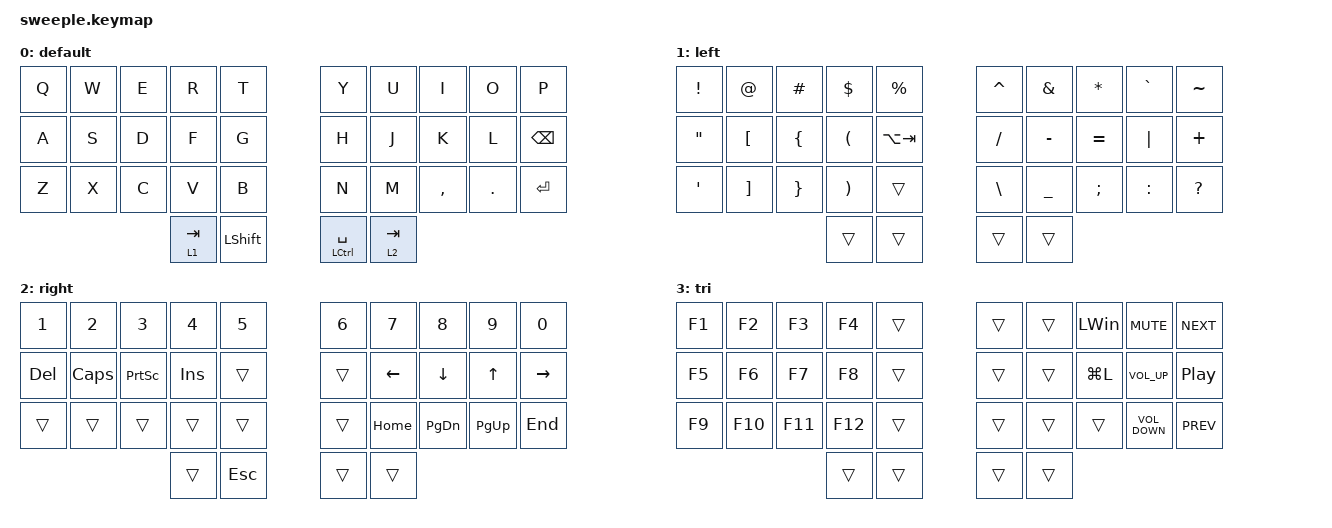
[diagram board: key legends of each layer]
#include <behaviors.dtsi>
#include <dt-bindings/zmk/keys.h>

/ {
    behaviors {
        hot: hot {
            compatible = "zmk,behavior-hold-tap";
            label = "hold or tap";
            bindings = <&kp>, <&kp>;

            #binding-cells = <2>;
            tapping-term-ms = <200>;
            flavor = "balanced";
        };
    };

    keymap {
        compatible = "zmk,keymap";

        default {
            bindings = <
&kp Q  &kp W  &kp E  &kp R      &kp T         &kp Y                    &kp U      &kp I      &kp O       &kp P
&kp A  &kp S  &kp D  &kp F      &kp G         &kp H                    &kp J      &kp K      &kp L       &kp BACKSPACE
&kp Z  &kp X  &kp C  &kp V      &kp B         &kp N                    &kp M      &kp COMMA  &kp PERIOD  &kp ENTER
                     &lt 1 TAB  &kp LSHIFT    &hot LEFT_CONTROL SPACE  &lt 2 TAB
            >;
        };

        left {
            bindings = <
&kp EXCLAMATION    &kp AT_SIGN  &kp POUND        &kp DOLLAR             &kp PERCENT    &kp CARET      &kp AMPERSAND   &kp ASTERISK   &kp GRAVE  &kp TILDE
&kp DOUBLE_QUOTES  &kp LBKT     &kp LEFT_BRACE   &kp LEFT_PARENTHESIS   &kp LA(TAB)    &kp SLASH      &kp MINUS       &kp EQUAL      &kp PIPE   &kp PLUS
&kp SQT            &kp RBKT     &kp RIGHT_BRACE  &kp RIGHT_PARENTHESIS  &trans         &kp BACKSLASH  &kp UNDERSCORE  &kp SEMICOLON  &kp COLON  &kp QUESTION
                                                 &trans                 &trans         &trans         &trans
            >;
        };

        right {
            bindings = <
&kp N1      &kp N2        &kp N3           &kp N4      &kp N5        &kp N6  &kp N7    &kp N8         &kp N9        &kp N0
&kp DELETE  &kp CAPSLOCK  &kp PRINTSCREEN  &kp INSERT  &trans        &trans  &kp LEFT  &kp DOWN       &kp UP_ARROW  &kp RIGHT
&trans      &trans        &trans           &trans      &trans        &trans  &kp HOME  &kp PAGE_DOWN  &kp PG_UP     &kp END
                                           &trans      &kp ESCAPE    &trans  &trans
            >;
        };

        tri {
            bindings = <
&kp F1  &kp F2   &kp F3   &kp F4   &trans    &trans  &trans  &kp LEFT_WIN  &kp C_MUTE         &kp C_NEXT
&kp F5  &kp F6   &kp F7   &kp F8   &trans    &trans  &trans  &kp LG(L)     &kp C_VOLUME_UP    &kp C_PP
&kp F9  &kp F10  &kp F11  &kp F12  &trans    &trans  &trans  &trans        &kp C_VOLUME_DOWN  &kp C_PREV
                          &trans   &trans    &trans  &trans
            >;
        };
    };

    conditional_layers {
        compatible = "zmk,conditional-layers";

        tri {
            if-layers = <1 2>;
            then-layer = <3>;
        };
    };
};
